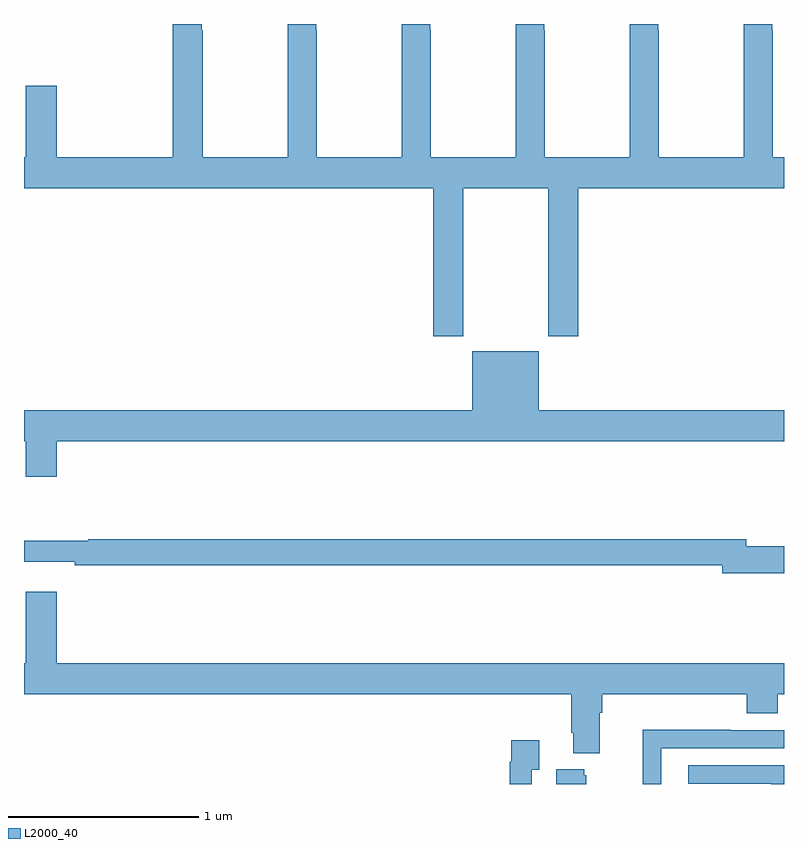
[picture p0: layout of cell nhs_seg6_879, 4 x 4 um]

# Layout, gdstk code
import gdstk
lib = gdstk.Library(unit=1e-6, precision=1e-09)
def P(c, l, *ps):  # polygons
    for p in ps: c.add(gdstk.Polygon(p, *l))
L2000_40 = (2000, 40)

nhs_seg6_879 = lib.new_cell('nhs_seg6_879')
P(nhs_seg6_879, L2000_40, [(167.313,980.636),(167.758,980.636),(167.758,979.857),(167.918,979.857),(167.918,980.636),(169,980.636),(169,980.8),(168.942,980.8),(168.942,981.467),(168.939,981.467),(168.939,981.5),(168.789,981.5),(168.789,981.467),(168.787,981.467),(168.787,980.8),(168.342,980.8),(168.342,981.467),(168.339,981.467),(168.339,981.5),(168.189,981.5),(168.189,981.467),(168.187,981.467),(168.187,980.8),(167.742,980.8),(167.742,981.467),(167.739,981.467),(167.739,981.5),(167.589,981.5),(167.589,981.467),(167.587,981.467),(167.587,980.8),(167.142,980.8),(167.142,981.467),(167.139,981.467),(167.139,981.5),(166.989,981.5),(166.989,981.467),(166.987,981.467),(166.987,980.8),(166.542,980.8),(166.542,981.467),(166.539,981.467),(166.539,981.5),(166.389,981.5),(166.389,981.467),(166.387,981.467),(166.387,980.8),(165.942,980.8),(165.942,981.467),(165.935,981.467),(165.935,981.5),(165.782,981.5),(165.782,980.8),(165.172,980.8),(165.172,981.175),(165.008,981.175),(165.008,980.8),(165,980.8),(165,980.636),(167.153,980.636),(167.153,979.857),(167.313,979.857)],
  [(165.172,979.304),(169,979.304),(169,979.468),(167.71,979.468),(167.71,979.777),(167.36,979.777),(167.36,979.468),(165,979.468),(165,979.304),(165.008,979.304),(165.008,979.116),(165.172,979.116)],
  [(169,978.752),(168.802,978.752),(168.802,978.788),(165.339,978.788),(165.339,978.781),(165,978.781),(165,978.671),(165.268,978.671),(165.268,978.652),(168.674,978.652),(168.674,978.61),(169,978.61)],
  [(168.031,977.876),(168.044,977.876),(168.044,977.972),(168.803,977.972),(168.803,977.873),(168.968,977.873),(168.968,977.972),(169,977.972),(169,978.136),(165.172,978.136),(165.172,978.511),(165.008,978.511),(165.008,978.136),(165,978.136),(165,977.972),(167.879,977.972),(167.879,977.77),(167.891,977.77),(167.891,977.663),(168.031,977.663)],
  [(168.354,977.688),(169,977.688),(169,977.784),(168.719,977.784),(168.719,977.786),(168.256,977.786),(168.256,977.5),(168.354,977.5)],
  [(167.673,977.575),(167.713,977.575),(167.713,977.731),(167.565,977.731),(167.565,977.618),(167.557,977.618),(167.557,977.5),(167.673,977.5)],
  [(169,977.598),(168.495,977.598),(168.495,977.502),(168.933,977.502),(168.933,977.5),(169,977.5)],
  [(167.959,977.547),(167.948,977.547),(167.948,977.578),(167.801,977.578),(167.801,977.5),(167.959,977.5)])

lib.write_gds('nhs_seg6_879.gds')
